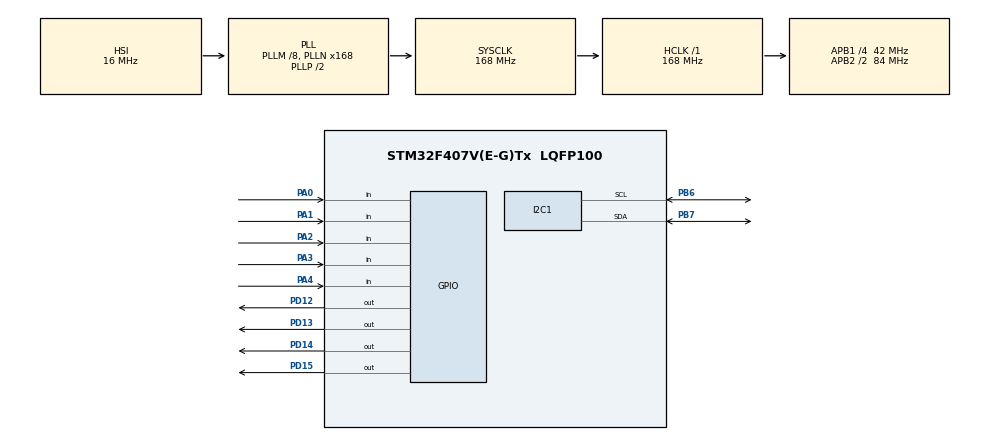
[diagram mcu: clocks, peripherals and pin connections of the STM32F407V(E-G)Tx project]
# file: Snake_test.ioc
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I2C1.I2C_Mode=I2C_Fast
Mcu.Family=STM32F4
Mcu.Name=STM32F407V(E-G)Tx
Mcu.Package=LQFP100
NVIC.PriorityGroup=NVIC_PRIORITYGROUP_0
PA0-WKUP.Signal=GPIO_Input
PA1.GPIO_PuPd=GPIO_PULLUP
PA1.Signal=GPIO_Input
PA2.GPIO_PuPd=GPIO_PULLUP
PA2.Signal=GPIO_Input
PA3.GPIO_PuPd=GPIO_PULLUP
PA3.Signal=GPIO_Input
PA4.GPIO_PuPd=GPIO_PULLUP
PA4.Signal=GPIO_Input
PB6.Mode=I2C
PB6.Signal=I2C1_SCL
PB7.Mode=I2C
PB7.Signal=I2C1_SDA
PD12.Signal=GPIO_Output
PD13.Signal=GPIO_Output
PD14.Signal=GPIO_Output
PD15.Signal=GPIO_Output
ProjectManager.HeapSize=0x200
ProjectManager.StackSize=0x400
ProjectManager.TargetToolchain=MDK-ARM V5
RCC.48MHZClocksFreq_Value=48000000
RCC.AHBFreq_Value=168000000
RCC.APB1CLKDivider=RCC_HCLK_DIV4
RCC.APB1Freq_Value=42000000
RCC.APB1TimFreq_Value=84000000
RCC.APB2CLKDivider=RCC_HCLK_DIV2
RCC.APB2Freq_Value=84000000
RCC.APB2TimFreq_Value=168000000
RCC.CortexFreq_Value=168000000
RCC.HCLKFreq_Value=168000000
RCC.HSE_VALUE=8000000
RCC.HSI_VALUE=16000000
RCC.LSE_VALUE=32768
RCC.PLLM=8
RCC.PLLN=168
RCC.PLLQ=7
RCC.SYSCLKFreq_VALUE=168000000
RCC.SYSCLKSource=RCC_SYSCLKSOURCE_PLLCLK
RCC.VCOOutputFreq_Value=336000000
board=STM32F407G-DISC1

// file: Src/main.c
/* USER CODE BEGIN Header */
/**
  ******************************************************************************
  * @file           : main.c
  * @brief          : Main program body
  ******************************************************************************
  * @attention
  *
  * <h2><center>&copy; Copyright (c) 2021 STMicroelectronics.
  * All rights reserved.</center></h2>
  *
  * This software component is licensed by ST under BSD 3-Clause license,
  * the "License"; You may not use this file except in compliance with the
  * License. You may obtain a copy of the License at:
  *                        opensource.org/licenses/BSD-3-Clause
  *
  ******************************************************************************
  */
/* USER CODE END Header */

#include "main.h"

/* USER CODE BEGIN Includes */
#include "ssd1306.h"
#include "stdlib.h"
#include "stdbool.h"
/* USER CODE END Includes */

/* USER CODE BEGIN PD */
int draw_grid[16][8];
int snake_speed[2]={1,0};
int size_of_snake=2;
int snake_pos[2][20];
int old_poshx;
int old_poshy;
int pos_head[2];
bool sw_up;
bool sw_down;
bool sw_right;
bool sw_left;
int score;
/* USER CODE END PD */

I2C_HandleTypeDef hi2c1;

void SystemClock_Config(void);
static void MX_GPIO_Init(void);
static void MX_I2C1_Init(void);
/* USER CODE BEGIN PFP */
void init_grid(void);
void update_grid(void);
void draw_snake(int x,int y);
void draw_food(int x,int y);
void clear_block(int x,int y);
void move_snake(void);
void re_init(void);
void spawn_food(void);
int rand_no(int m);
void check_collision(void);
void wait_check(void);
void check_food(void);
void game_over_screen(void);

/* USER CODE END PFP */

int main(void)
{

  /* MCU Configuration--------------------------------------------------------*/

  /* Reset of all peripherals, Initializes the Flash interface and the Systick. */
  HAL_Init();

  /* Configure the system clock */
  SystemClock_Config();

  /* Initialize all configured peripherals */
  MX_GPIO_Init();
  MX_I2C1_Init();
  /* USER CODE BEGIN 2 */
	init_grid();
	draw_grid[0][0]=2;
	draw_grid[1][0]=2;
	snake_pos[0][0]=0;
	snake_pos[1][0]=0;
	snake_pos[0][1]=1;
	snake_pos[1][1]=0;
	size_of_snake=2;
	snake_speed[0]=1;
	snake_speed[1]=0;
	sw_up=true;
	sw_down=true;
	sw_right=true;
	sw_left=true;
	score=0;
	spawn_food();
	//int test=0;
  /* USER CODE END 2 */

  /* Infinite loop */
  while (1)
  {

    /* USER CODE BEGIN 3 */
		//update_grid();
		update_grid();
		check_food();
		move_snake();
		check_collision();
		HAL_GPIO_TogglePin(GPIOD,GPIO_PIN_12);
		//HAL_Delay(250);
		wait_check();
  }
  /* USER CODE END 3 */
}

void SystemClock_Config(void)
{
  RCC_OscInitTypeDef RCC_OscInitStruct = {0};
  RCC_ClkInitTypeDef RCC_ClkInitStruct = {0};

  /** Configure the main internal regulator output voltage
  */
  __HAL_RCC_PWR_CLK_ENABLE();
  __HAL_PWR_VOLTAGESCALING_CONFIG(PWR_REGULATOR_VOLTAGE_SCALE1);
  /** Initializes the CPU, AHB and APB busses clocks
  */
  RCC_OscInitStruct.OscillatorType = RCC_OSCILLATORTYPE_HSI;
  RCC_OscInitStruct.HSIState = RCC_HSI_ON;
  RCC_OscInitStruct.HSICalibrationValue = RCC_HSICALIBRATION_DEFAULT;
  RCC_OscInitStruct.PLL.PLLState = RCC_PLL_ON;
  RCC_OscInitStruct.PLL.PLLSource = RCC_PLLSOURCE_HSI;
  RCC_OscInitStruct.PLL.PLLM = 8;
  RCC_OscInitStruct.PLL.PLLN = 168;
  RCC_OscInitStruct.PLL.PLLP = RCC_PLLP_DIV2;
  RCC_OscInitStruct.PLL.PLLQ = 7;
  if (HAL_RCC_OscConfig(&RCC_OscInitStruct) != HAL_OK)
  {
    Error_Handler();
  }
  /** Initializes the CPU, AHB and APB busses clocks
  */
  RCC_ClkInitStruct.ClockType = RCC_CLOCKTYPE_HCLK|RCC_CLOCKTYPE_SYSCLK
                              |RCC_CLOCKTYPE_PCLK1|RCC_CLOCKTYPE_PCLK2;
  RCC_ClkInitStruct.SYSCLKSource = RCC_SYSCLKSOURCE_PLLCLK;
  RCC_ClkInitStruct.AHBCLKDivider = RCC_SYSCLK_DIV1;
  RCC_ClkInitStruct.APB1CLKDivider = RCC_HCLK_DIV4;
  RCC_ClkInitStruct.APB2CLKDivider = RCC_HCLK_DIV2;

  if (HAL_RCC_ClockConfig(&RCC_ClkInitStruct, FLASH_LATENCY_5) != HAL_OK)
  {
    Error_Handler();
  }
}

static void MX_I2C1_Init(void)
{

  hi2c1.Instance = I2C1;
  hi2c1.Init.ClockSpeed = 400000;
  hi2c1.Init.DutyCycle = I2C_DUTYCYCLE_2;
  hi2c1.Init.OwnAddress1 = 0;
  hi2c1.Init.AddressingMode = I2C_ADDRESSINGMODE_7BIT;
  hi2c1.Init.DualAddressMode = I2C_DUALADDRESS_DISABLE;
  hi2c1.Init.OwnAddress2 = 0;
  hi2c1.Init.GeneralCallMode = I2C_GENERALCALL_DISABLE;
  hi2c1.Init.NoStretchMode = I2C_NOSTRETCH_DISABLE;
  if (HAL_I2C_Init(&hi2c1) != HAL_OK)
  {
    Error_Handler();
  }
  /* USER CODE BEGIN I2C1_Init 2 */
	ssd1306_Init();
  /* USER CODE END I2C1_Init 2 */

}

static void MX_GPIO_Init(void)
{
  GPIO_InitTypeDef GPIO_InitStruct = {0};

  /* GPIO Ports Clock Enable */
  __HAL_RCC_GPIOA_CLK_ENABLE();
  __HAL_RCC_GPIOD_CLK_ENABLE();
  __HAL_RCC_GPIOB_CLK_ENABLE();

  /*Configure GPIO pin Output Level */
  HAL_GPIO_WritePin(GPIOD, GPIO_PIN_12|GPIO_PIN_13|GPIO_PIN_14|GPIO_PIN_15, GPIO_PIN_RESET);

  /*Configure GPIO pin : PA0 */
  GPIO_InitStruct.Pin = GPIO_PIN_0;
  GPIO_InitStruct.Mode = GPIO_MODE_INPUT;
  GPIO_InitStruct.Pull = GPIO_NOPULL;
  HAL_GPIO_Init(GPIOA, &GPIO_InitStruct);

  /*Configure GPIO pins : PA1 PA2 PA3 PA4 */
  GPIO_InitStruct.Pin = GPIO_PIN_1|GPIO_PIN_2|GPIO_PIN_3|GPIO_PIN_4;
  GPIO_InitStruct.Mode = GPIO_MODE_INPUT;
  GPIO_InitStruct.Pull = GPIO_PULLUP;
  HAL_GPIO_Init(GPIOA, &GPIO_InitStruct);

  /*Configure GPIO pins : PD12 PD13 PD14 PD15 */
  GPIO_InitStruct.Pin = GPIO_PIN_12|GPIO_PIN_13|GPIO_PIN_14|GPIO_PIN_15;
  GPIO_InitStruct.Mode = GPIO_MODE_OUTPUT_PP;
  GPIO_InitStruct.Pull = GPIO_NOPULL;
  GPIO_InitStruct.Speed = GPIO_SPEED_FREQ_LOW;
  HAL_GPIO_Init(GPIOD, &GPIO_InitStruct);

}

/* USER CODE BEGIN 4 */

void draw_snake(int x,int y){
	int x0=x*8;
	int y0=y*8;
	int x1=x0+8;
	int y1=y0+8;
	for(int i=x0;i<x1;i++){
		for(int j=y0;j<y1;j++){
			ssd1306_DrawPixel(i,j,0x01);
		}
	}
}
void draw_food(int x,int y){
	int x0=x*8;
	int y0=y*8;
	int x1=x0+8;
	int y1=y0+8;
	for(int i=x0;i<x1;i++){
		for(int j=y0;j<y1;j++){
			ssd1306_DrawPixel(i,j,0x01);
		}
	}
}

void clear_block(int x,int y){
	int x0=x*8;
	int y0=y*8;
	int x1=x0+8;
	int y1=y0+8;
	for(int i=x0;i<x1;i++){
		for(int j=y0;j<y1;j++){
			ssd1306_DrawPixel(i,j,0x00);
		}
	}
}

void update_grid(){
	SSD1306_ClearScreen();
	for(int i=0;i<16;i++){
		for(int j=0;j<8;j++){
			if(draw_grid[i][j]==2){
				draw_snake(i,j);
			}
			else if(draw_grid[i][j]==1){
				draw_food(i,j);
			}
			else{
				clear_block(i,j);
			}
		}
	}
	ssd1306_UpdateScreen();
}

//Fill grid with 0
void init_grid(void){
	for(int i=0; i<16;i++){
		for(int j=0;j<8;j++){
			draw_grid[i][j]=0;
		}
	}
}

void move_snake(){
		for(int i=size_of_snake-1;i>=0;i--){
			draw_grid[snake_pos[0][i]][snake_pos[1][i]]=0;
		}
		old_poshx=snake_pos[0][size_of_snake-1];
		old_poshy=snake_pos[1][size_of_snake-1];
		snake_pos[0][size_of_snake-1]=snake_pos[0][size_of_snake-1]+snake_speed[0];
		snake_pos[1][size_of_snake-1]=snake_pos[1][size_of_snake-1]+snake_speed[1];
		pos_head[0]=snake_pos[0][size_of_snake-1];
		pos_head[1]=snake_pos[1][size_of_snake-1];
		for(int i=size_of_snake-2;i>=0;i--){
			int nx = snake_pos[0][i];
			int ny = snake_pos[1][i];
			snake_pos[0][i]=old_poshx;
			snake_pos[1][i]=old_poshy;
			old_poshx=nx;
			old_poshy=ny;
		}
		for(int i=size_of_snake-1;i>=0;i--){
			draw_grid[snake_pos[0][i]][snake_pos[1][i]]=2;
		}
}

void re_init(void){
	init_grid();
	draw_grid[0][0]=2;
	draw_grid[1][0]=2;
	snake_pos[0][0]=0;
	snake_pos[1][0]=0;
	snake_pos[0][1]=1;
	snake_pos[1][1]=0;
	size_of_snake=2;
	snake_speed[0]=1;
	snake_speed[1]=0;
	sw_up=true;
	sw_down=true;
	sw_right=true;
	sw_left=true;
	score=0;
	spawn_food();
}

void spawn_food(void){
	int xf=rand_no(15);
	int yf=rand_no(7);
	while(draw_grid[xf][yf]==2){
		xf=rand_no(15);
		yf=rand_no(7);
	}
	draw_grid[xf][yf]=1;
}

int rand_no(int m){
	int num = (rand()%(m+1));
	return num;
}

void check_collision(void){
	if(pos_head[0]>=16 || pos_head[0]<0){
		game_over_screen();
		re_init();
	}
	if(pos_head[1]>=8 || pos_head[1]<0){
		game_over_screen();
		re_init();
	}
	if(draw_grid[pos_head[0]+snake_speed[0]][pos_head[1]+snake_speed[1]]==2){
		game_over_screen();
		re_init();
	}
}

void wait_check(void){
	for(int i=0;i<45;i++){
		sw_down=HAL_GPIO_ReadPin(GPIOA,GPIO_PIN_1);
		if(sw_down==false && snake_speed[1]==0){
			snake_speed[0]=0;
			snake_speed[1]=1;
			break;
		}
		sw_up=HAL_GPIO_ReadPin(GPIOA,GPIO_PIN_4);
		if(sw_up==false && snake_speed[1]==0){
			snake_speed[0]=0;
			snake_speed[1]=-1;
			break;
		}
		sw_right=HAL_GPIO_ReadPin(GPIOA,GPIO_PIN_2);
		if(sw_right==false && snake_speed[0]==0){
			snake_speed[0]=1;
			snake_speed[1]=0;
			break;
		}
		sw_left=HAL_GPIO_ReadPin(GPIOA,GPIO_PIN_3);
		if(sw_left==false && snake_speed[0]==0){
			snake_speed[0]=-1;
			snake_speed[1]=0;
			break;
		}
		HAL_Delay(5);
	}
}
void check_food(void){
	if(draw_grid[pos_head[0]+snake_speed[0]][pos_head[1]+snake_speed[1]]==1){
		score++;
		size_of_snake++;
		snake_pos[0][size_of_snake-1]=pos_head[0]+snake_speed[0];
		snake_pos[1][size_of_snake-1]=pos_head[1]+snake_speed[1];
		spawn_food();
	}
}

void game_over_screen(void){
	SSD1306_ClearScreen();
	ssd1306_SetCursor(16,20);
	ssd1306_WriteString("Game Over", Font_11x18, 0x01);
	ssd1306_SetCursor(16,40);
	ssd1306_WriteString("Score: ", Font_11x18, 0x01);
	ssd1306_SetCursor(80,40);
	char sc1=score+'0';
	ssd1306_WriteChar(sc1, Font_11x18,0x01);
	ssd1306_UpdateScreen();
	HAL_Delay(1000);
}

/* USER CODE END 4 */

void Error_Handler(void)
{
}

/************************ (C) COPYRIGHT STMicroelectronics *****END OF FILE****/
